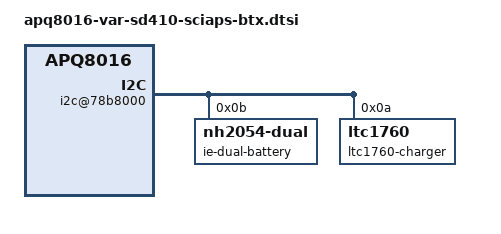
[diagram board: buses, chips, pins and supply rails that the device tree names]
/* Copyright (c) 2015, The Linux Foundation. All rights reserved.
 *
 * This program is free software; you can redistribute it and/or modify
 * it under the terms of the GNU General Public License version 2 and
 * only version 2 as published by the Free Software Foundation.
 *
 * This program is distributed in the hope that it will be useful,
 * but WITHOUT ANY WARRANTY; without even the implied warranty of
 * MERCHANTABILITY or FITNESS FOR A PARTICULAR PURPOSE.  See the
 * GNU General Public License for more details.
 */

#include "apq8016-var-sd410-sciaps-ngx-ampteck-dpp2.dtsi"
#include "apq8016-camera-sensor-var-sd410-sciaps-btx.dtsi"

&cci {

	actuator0: qcom,actuator@0 {
		status = "disabled";
	};

	eeprom0: qcom,eeprom@20 {
		status = "disabled";
	};

	qcom,camera@42 {
		status = "disabled";
	};
};

&soc {
	i2c@78b8000 { /* BLSP1 QUP4 */
        ie-battery@b {
            status = "disabled";
		};
        ie-charger@9 {
            status = "disabled";
		};
		battery@0x64 {
            status = "disabled";
		};
        ie-dual-battery@b {
            compatible = "nh2054-dual";
            reg = <0xb>;
            sciaps,support-shutdown = <1>;
            sciaps,shutdown-timer   = <15>;
			sciaps,capacity-low-thres-mAh = <0>; // calculated based on sciaps,capacity-low-thres
            sciaps,capacity-low-thres = <5>; // 0.5 %
            sciaps,voltage-crit-low-thres-mV = <11000>;
            sciaps,voltage-low-thres-mV = <14000>;
			status = "okay";
        };

        ltc1760-charger@9 {
            compatible = "ltc1760";
            reg = <0xa>;
			status = "okay";
        };
	};
};

